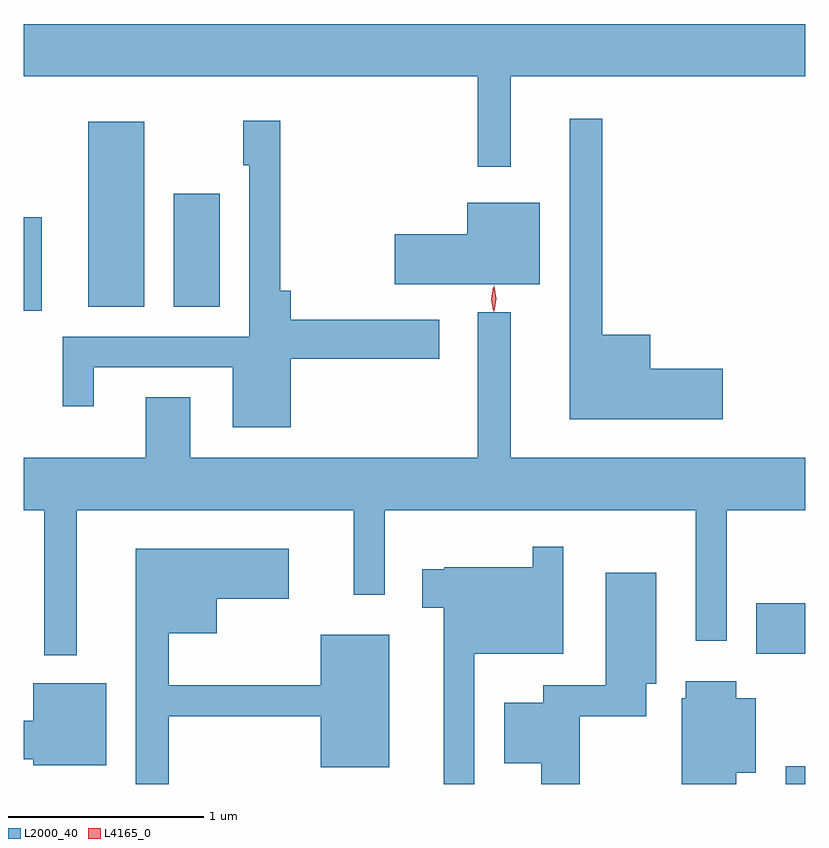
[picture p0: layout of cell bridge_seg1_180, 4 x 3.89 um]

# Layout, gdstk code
import gdstk
lib = gdstk.Library(unit=1e-6, precision=1e-09)
def R(c, l, rs):  # rectangles x0, y0, x1, y1
    for r in rs: c.add(gdstk.rectangle(r[:2], r[2:], *l))
def P(c, l, *ps):  # polygons
    for p in ps: c.add(gdstk.Polygon(p, *l))
L2000_40 = (2000, 40)
L4165_0 = (4165, 0)

bridge_seg1_180 = lib.new_cell('bridge_seg1_180')
R(bridge_seg1_180, L2000_40, [(832.976,913.714,833.077,913.804), (832.826,914.381,833.077,914.639), (829.077,916.136,829.169,916.614), (829.406,916.156,829.694,917.104), (829.846,916.156,830.079,916.734)])
P(bridge_seg1_180, L2000_40, [(831.569,917.336),(833.077,917.336),(833.077,917.604),(829.077,917.604),(829.077,917.336),(831.401,917.336),(831.401,916.873),(831.569,916.873)],
  [(832.654,915.839),(832.284,915.839),(832.284,916.014),(832.039,916.014),(832.039,917.118),(831.871,917.118),(831.871,915.581),(832.654,915.581)],
  [(830.444,915.891),(831.204,915.891),(831.204,916.089),(830.444,916.089),(830.444,916.239),(830.389,916.239),(830.389,917.109),(830.201,917.109),(830.201,916.881),(830.231,916.881),(830.231,916.004),(829.276,916.004),(829.276,915.648),(829.434,915.648),(829.434,915.846),(830.146,915.846),(830.146,915.541),(830.444,915.541)],
  [(831.719,916.689),(831.346,916.689),(831.346,916.529),(830.976,916.529),(830.976,916.271),(831.719,916.271)],
  [(829.349,915.116),(830.766,915.116),(830.766,914.683),(830.924,914.683),(830.924,915.116),(832.516,915.116),(832.516,914.448),(832.674,914.448),(832.674,915.116),(833.077,915.116),(833.077,915.384),(831.569,915.384),(831.569,916.128),(831.401,916.128),(831.401,915.384),(829.929,915.384),(829.929,915.694),(829.701,915.694),(829.701,915.384),(829.077,915.384),(829.077,915.116),(829.181,915.116),(829.181,914.373),(829.349,914.373)],
  [(831.384,914.381),(831.839,914.381),(831.839,914.928),(831.681,914.928),(831.681,914.824),(831.23,914.824),(831.23,914.814),(831.116,914.814),(831.116,914.616),(831.226,914.616),(831.226,913.714),(831.384,913.714)],
  [(829.819,914.061),(830.596,914.061),(830.596,913.801),(830.949,913.801),(830.949,914.479),(830.596,914.479),(830.596,914.219),(829.819,914.219),(829.819,914.486),(830.064,914.486),(830.064,914.661),(830.434,914.661),(830.434,914.919),(829.651,914.919),(829.651,913.714),(829.819,913.714)],
  [(831.924,914.061),(832.264,914.061),(832.264,914.226),(832.314,914.226),(832.314,914.794),(832.056,914.794),(832.056,914.219),(831.736,914.219),(831.736,914.129),(831.536,914.129),(831.536,913.821),(831.726,913.821),(831.726,913.714),(831.924,913.714)],
  [(832.724,913.771),(832.824,913.771),(832.824,914.154),(832.724,914.154),(832.724,914.239),(832.466,914.239),(832.466,914.154),(832.446,914.154),(832.446,913.714),(832.724,913.714)],
  [(829.499,914.229),(829.126,914.229),(829.126,914.039),(829.077,914.039),(829.077,913.841),(829.126,913.841),(829.126,913.811),(829.499,913.811)])
P(bridge_seg1_180, L4165_0, [(831.48,916.133),(831.48,916.133),(831.47,916.196),(831.479,916.259),(831.48,916.259),(831.48,916.259),(831.49,916.196),(831.481,916.133)],
  [(831.484,916.13),(831.475,916.198),(831.484,916.265),(831.484,916.266),(831.485,916.265),(831.495,916.198),(831.485,916.13),(831.485,916.13)])

lib.write_gds('bridge_seg1_180.gds')
